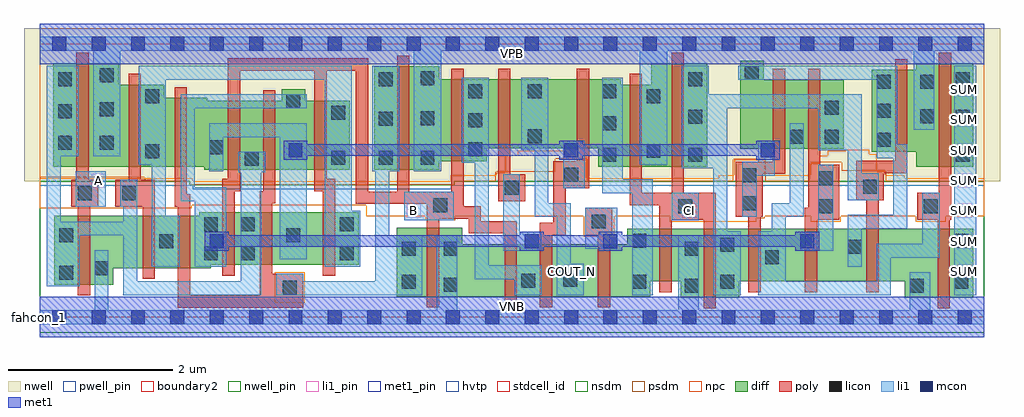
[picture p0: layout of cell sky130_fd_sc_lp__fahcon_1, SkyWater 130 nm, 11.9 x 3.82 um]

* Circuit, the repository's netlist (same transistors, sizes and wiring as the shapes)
* Copyright 2020 The SkyWater PDK Authors
*
* Licensed under the Apache License, Version 2.0 (the "License");
* you may not use this file except in compliance with the License.
* You may obtain a copy of the License at
*
*     https://www.apache.org/licenses/LICENSE-2.0
*
* Unless required by applicable law or agreed to in writing, software
* distributed under the License is distributed on an "AS IS" BASIS,
* WITHOUT WARRANTIES OR CONDITIONS OF ANY KIND, either express or implied.
* See the License for the specific language governing permissions and
* limitations under the License.
*
* SPDX-License-Identifier: Apache-2.0

.SUBCKT sky130_fd_sc_lp__fahcon_1 A B CI VGND VNB VPB VPWR COUT_N SUM
*.PININFO A:I B:I CI:I VGND:I VNB:I VPB:I VPWR:I COUT_N:O SUM:O
MMIP3 SUM net186 VPWR VPB sky130_fd_pr__pfet_01v8_hvt m=1 w=1.26U l=0.15U mult=1
+ sa=0.265 sb=0.265 sd=0.28 area=0.063 perim=1.14
MI32 Bb2 B VPWR VPB sky130_fd_pr__pfet_01v8_hvt m=1 w=1.0U l=0.15U mult=1 sa=0.265
+ sb=0.265 sd=0.28 area=0.063 perim=1.14
MI27 Ab Bb1 mid2 VPB sky130_fd_pr__pfet_01v8_hvt m=1 w=0.84U l=0.15U mult=1 sa=0.265
+ sb=0.265 sd=0.28 area=0.063 perim=1.14
MI26 Abb B mid2 VPB sky130_fd_pr__pfet_01v8_hvt m=1 w=0.84U l=0.15U mult=1 sa=0.265
+ sb=0.265 sd=0.28 area=0.063 perim=1.14
MI22 Abb Bb1 mid1 VPB sky130_fd_pr__pfet_01v8_hvt m=1 w=0.84U l=0.15U mult=1 sa=0.265
+ sb=0.265 sd=0.28 area=0.063 perim=1.14
MI23 Ab B mid1 VPB sky130_fd_pr__pfet_01v8_hvt m=1 w=0.84U l=0.15U mult=1 sa=0.265
+ sb=0.265 sd=0.28 area=0.063 perim=1.14
MI19 CIb1 CI VPWR VPB sky130_fd_pr__pfet_01v8_hvt m=1 w=1.0U l=0.15U mult=1 sa=0.265
+ sb=0.265 sd=0.28 area=0.063 perim=1.14
MI13 CIbb2 CIb2 VPWR VPB sky130_fd_pr__pfet_01v8_hvt m=1 w=1.0U l=0.15U mult=1
+ sa=0.265 sb=0.265 sd=0.28 area=0.063 perim=1.14
MI47 Abb Ab VPWR VPB sky130_fd_pr__pfet_01v8_hvt m=1 w=1.0U l=0.15U mult=1 sa=0.265
+ sb=0.265 sd=0.28 area=0.063 perim=1.14
MI12 CIb2 CI VPWR VPB sky130_fd_pr__pfet_01v8_hvt m=1 w=1.26U l=0.15U mult=1 sa=0.265
+ sb=0.265 sd=0.28 area=0.063 perim=1.14
MI16 Bb1 B VPWR VPB sky130_fd_pr__pfet_01v8_hvt m=1 w=1.26U l=0.15U mult=1 sa=0.265
+ sb=0.265 sd=0.28 area=0.063 perim=1.14
MI650 CIb2 mid2 net186 VPB sky130_fd_pr__pfet_01v8_hvt m=1 w=0.84U l=0.15U mult=1
+ sa=0.265 sb=0.265 sd=0.28 area=0.063 perim=1.14
MI45 Ab A VPWR VPB sky130_fd_pr__pfet_01v8_hvt m=1 w=1.26U l=0.15U mult=1 sa=0.265
+ sb=0.265 sd=0.28 area=0.063 perim=1.14
MI1 CIbb2 mid1 net186 VPB sky130_fd_pr__pfet_01v8_hvt m=1 w=0.84U l=0.15U mult=1
+ sa=0.265 sb=0.265 sd=0.28 area=0.063 perim=1.14
MI3 Bb2 mid2 COUT_N VPB sky130_fd_pr__pfet_01v8_hvt m=1 w=0.84U l=0.15U mult=1
+ sa=0.265 sb=0.265 sd=0.28 area=0.063 perim=1.14
MI4 CIb1 mid1 COUT_N VPB sky130_fd_pr__pfet_01v8_hvt m=1 w=0.84U l=0.15U mult=1
+ sa=0.265 sb=0.265 sd=0.28 area=0.063 perim=1.14
MMIN3 SUM net186 VGND VNB sky130_fd_pr__nfet_01v8 m=1 w=0.84U l=0.15U mult=1 sa=0.265
+ sb=0.265 sd=0.28 area=0.063 perim=1.14
MI6 CIb1 mid2 COUT_N VNB sky130_fd_pr__nfet_01v8 m=1 w=0.64U l=0.15U mult=1 sa=0.265
+ sb=0.265 sd=0.28 area=0.063 perim=1.14
MI25 Ab B mid2 VNB sky130_fd_pr__nfet_01v8 m=1 w=0.64U l=0.15U mult=1 sa=0.265
+ sb=0.265 sd=0.28 area=0.063 perim=1.14
MI24 Abb Bb1 mid2 VNB sky130_fd_pr__nfet_01v8 m=1 w=0.64U l=0.15U mult=1 sa=0.265
+ sb=0.265 sd=0.28 area=0.063 perim=1.14
MI21 Ab Bb1 mid1 VNB sky130_fd_pr__nfet_01v8 m=1 w=0.64U l=0.15U mult=1 sa=0.265
+ sb=0.265 sd=0.28 area=0.063 perim=1.14
MI20 Abb B mid1 VNB sky130_fd_pr__nfet_01v8 m=1 w=0.64U l=0.15U mult=1 sa=0.265
+ sb=0.265 sd=0.28 area=0.063 perim=1.14
MI14 CIb1 CI VGND VNB sky130_fd_pr__nfet_01v8 m=1 w=0.64U l=0.15U mult=1 sa=0.265
+ sb=0.265 sd=0.28 area=0.063 perim=1.14
MI9 CIbb2 CIb2 VGND VNB sky130_fd_pr__nfet_01v8 m=1 w=0.64U l=0.15U mult=1 sa=0.265
+ sb=0.265 sd=0.28 area=0.063 perim=1.14
MI8 CIb2 CI VGND VNB sky130_fd_pr__nfet_01v8 m=1 w=0.84U l=0.15U mult=1 sa=0.265
+ sb=0.265 sd=0.28 area=0.063 perim=1.14
MI44 Ab A VGND VNB sky130_fd_pr__nfet_01v8 m=1 w=0.84U l=0.15U mult=1 sa=0.265
+ sb=0.265 sd=0.28 area=0.063 perim=1.14
MI46 Abb Ab VGND VNB sky130_fd_pr__nfet_01v8 m=1 w=0.64U l=0.15U mult=1 sa=0.265
+ sb=0.265 sd=0.28 area=0.063 perim=1.14
MI17 Bb1 B VGND VNB sky130_fd_pr__nfet_01v8 m=1 w=0.84U l=0.15U mult=1 sa=0.265
+ sb=0.265 sd=0.28 area=0.063 perim=1.14
MI649 CIb2 mid1 net186 VNB sky130_fd_pr__nfet_01v8 m=1 w=0.64U l=0.15U mult=1 sa=0.265
+ sb=0.265 sd=0.28 area=0.063 perim=1.14
MI2 CIbb2 mid2 net186 VNB sky130_fd_pr__nfet_01v8 m=1 w=0.64U l=0.15U mult=1 sa=0.265
+ sb=0.265 sd=0.28 area=0.063 perim=1.14
MI31 Bb2 mid1 COUT_N VNB sky130_fd_pr__nfet_01v8 m=1 w=0.64U l=0.15U mult=1 sa=0.265
+ sb=0.265 sd=0.28 area=0.063 perim=1.14
MI33 Bb2 B VGND VNB sky130_fd_pr__nfet_01v8 m=1 w=0.64U l=0.15U mult=1 sa=0.265
+ sb=0.265 sd=0.28 area=0.063 perim=1.14
.ENDS sky130_fd_sc_lp__fahcon_1

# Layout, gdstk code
import gdstk
lib = gdstk.Library(unit=1e-6, precision=1e-09)
def R(c, l, rs):  # rectangles x0, y0, x1, y1
    for r in rs: c.add(gdstk.rectangle(r[:2], r[2:], *l))
def A(c, l, x, y, w, h, nx, ny, dx, dy):  # array of equal rectangles
    R(c, l, [(x+i*dx, y+j*dy, x+i*dx+w, y+j*dy+h) for i in range(nx) for j in range(ny)])
def P(c, l, *ps):  # polygons
    for p in ps: c.add(gdstk.Polygon(p, *l))
nwell_pin = (64, 16)
nwell = (64, 20)
diff = (65, 20)
poly = (66, 20)
licon = (66, 44)
li1_pin = (67, 16)
li1 = (67, 20)
mcon = (67, 44)
met1_pin = (68, 16)
met1 = (68, 20)
hvtp = (78, 44)
stdcell_id = (81, 4)
nsdm = (93, 44)
psdm = (94, 20)
npc = (95, 20)
pwell_pin = (122, 16)
boundary2 = (236, 0)

sky130_fd_sc_lp__fahcon_ = lib.new_cell('sky130_fd_sc_lp__fahcon_1')
R(sky130_fd_sc_lp__fahcon_, nwell_pin, [(0,3.085,11.52,3.33)])
P(sky130_fd_sc_lp__fahcon_, nwell, [(11.71,3.52),(-0.19,3.52),(-0.19,1.655),(1.83,1.655),(1.83,1.615),(5.055,1.615),(5.055,1.655),(11.71,1.655)])
P(sky130_fd_sc_lp__fahcon_, diff, [(3.78,2.635),(3.24,2.635),(3.24,2.775),(2.95,2.775),(2.95,2.635),(2.045,2.635),(2.045,2.675),(1.52,2.675),(1.52,2.835),(0.965,2.835),(0.965,3.095),(0.165,3.095),(0.165,1.835),(2.01,1.835),(2.01,1.795),(3.78,1.795)],
  [(3.89,1.275),(1.945,1.275),(1.945,1.235),(0.18,1.235),(0.18,0.395),(0.9,0.395),(0.9,0.595),(2.085,0.595),(2.085,0.635),(3.89,0.635)],
  [(8.14,3.095),(7.455,3.095),(7.455,2.835),(7.085,2.835),(7.085,2.9),(4.875,2.9),(4.875,3.055),(4.08,3.055),(4.08,1.795),(4.875,1.795),(4.875,1.9),(5.455,1.9),(5.455,2.06),(6.81,2.06),(6.81,1.835),(8.14,1.835)],
  [(9.805,2.895),(8.83,2.895),(8.83,3.125),(8.54,3.125),(8.54,2.055),(9.805,2.055)],
  [(11.385,3.095),(10.69,3.095),(10.69,3.015),(10.145,3.015),(10.145,2.015),(10.69,2.015),(10.69,1.835),(11.385,1.835)],
  [(11.385,1.075),(7.165,1.075),(7.165,0.89),(5.155,0.89),(5.155,1.09),(4.355,1.09),(4.355,0.25),(7.445,0.25),(7.445,0.435),(7.815,0.435),(7.815,0.235),(8.53,0.235),(8.53,0.435),(10.55,0.435),(10.55,0.235),(11.385,0.235)])
P(sky130_fd_sc_lp__fahcon_, poly, [(0.715,1.675),(0.6,1.675),(0.6,3.225),(0.45,3.225),(0.45,1.675),(0.385,1.675),(0.385,1.345),(0.465,1.345),(0.465,0.265),(0.615,0.265),(0.615,1.345),(0.715,1.345)],
  [(1.405,1.675),(1.235,1.675),(1.235,2.965),(1.085,2.965),(1.085,1.675),(0.925,1.675),(0.925,1.345),(1.255,1.345),(1.255,0.465),(1.405,0.465)],
  [(3.215,0.525),(2.835,0.525),(2.835,1.385),(2.875,1.385),(2.875,2.765),(2.725,2.765),(2.725,1.535),(2.685,1.535),(2.685,0.265),(1.835,0.265),(1.835,1.495),(1.795,1.495),(1.795,2.805),(1.645,2.805),(1.645,1.345),(1.685,1.345),(1.685,0.115),(3.215,0.115)],
  [(5.82,1.17),(5.38,1.17),(5.38,1.35),(5.17,1.35),(5.17,3.03),(5.02,3.03),(5.02,1.53),(4.51,1.53),(4.51,3.185),(4.36,3.185),(4.36,1.53),(4.005,1.53),(4.005,3.155),(2.295,3.155),(2.295,1.685),(2.23,1.685),(2.23,0.505),(2.38,0.505),(2.38,1.535),(2.445,1.535),(2.445,3.005),(3.35,3.005),(3.35,1.535),(3.455,1.535),(3.455,0.505),(3.605,0.505),(3.605,1.685),(3.5,1.685),(3.5,3.005),(3.855,3.005),(3.855,1.38),(4.72,1.38),(4.72,0.12),(4.87,0.12),(4.87,1.2),(5.23,1.2),(5.23,1.02),(5.67,1.02),(5.67,0.12),(5.82,0.12)],
  [(5.92,1.74),(5.74,1.74),(5.74,3.03),(5.59,3.03),(5.59,1.41),(5.92,1.41)],
  [(6.7,3.03),(6.55,3.03),(6.55,1.9),(6.265,1.9),(6.265,1.15),(6.1,1.15),(6.1,0.12),(6.25,0.12),(6.25,1),(6.415,1),(6.415,1.57),(6.7,1.57)],
  [(6.985,1.33),(6.655,1.33),(6.655,1),(6.805,1),(6.805,0.12),(6.955,0.12),(6.955,1),(6.985,1)],
  [(8.245,1.515),(7.855,1.515),(7.855,3.225),(7.705,3.225),(7.705,1.515),(7.345,1.515),(7.345,2.965),(7.195,2.965),(7.195,1.365),(7.555,1.365),(7.555,0.305),(7.705,0.305),(7.705,1.185),(8.095,1.185),(8.095,0.105),(8.245,0.105)],
  [(9.09,3.025),(8.94,3.025),(8.94,1.895),(8.49,1.895),(8.49,1.225),(8.64,1.225),(8.64,0.305),(8.79,0.305),(8.79,1.225),(8.82,1.225),(8.82,1.745),(9.09,1.745)],
  [(9.75,1.855),(9.52,1.855),(9.52,3.025),(9.37,3.025),(9.37,1.335),(9.33,1.335),(9.33,0.305),(9.48,0.305),(9.48,1.185),(9.75,1.185)],
  [(10.58,3.145),(10.43,3.145),(10.43,1.905),(9.96,1.905),(9.96,1.425),(10.08,1.425),(10.08,0.305),(10.23,0.305),(10.23,1.425),(10.29,1.425),(10.29,1.755),(10.58,1.755)],
  [(11.115,3.225),(10.965,3.225),(10.965,1.515),(10.7,1.515),(10.7,1.185),(10.95,1.185),(10.95,0.105),(11.1,0.105),(11.1,1.185),(11.115,1.185)])
A(sky130_fd_sc_lp__fahcon_, licon, 4.135, 1.855, 0.17, 0.17, 1, 3, 0, 0.48)
A(sky130_fd_sc_lp__fahcon_, licon, 4.645, 1.855, 0.17, 0.17, 1, 3, 0, 0.485)
A(sky130_fd_sc_lp__fahcon_, licon, 7.91, 1.895, 0.17, 0.17, 1, 3, 0, 0.46)
A(sky130_fd_sc_lp__fahcon_, licon, 11.17, 1.895, 0.17, 0.17, 1, 3, 0, 0.46)
A(sky130_fd_sc_lp__fahcon_, licon, 5.225, 1.96, 0.17, 0.17, 1, 3, 0, 0.355)
A(sky130_fd_sc_lp__fahcon_, licon, 10.205, 2.075, 0.17, 0.17, 1, 3, 0, 0.355)
R(sky130_fd_sc_lp__fahcon_, licon, [(2.965,0.275,3.135,0.445), (7.865,0.295,8.035,0.465), (10.61,0.295,10.78,0.465), (4.925,0.31,5.095,0.48), (4.415,0.345,4.585,0.515), (7.225,0.345,7.395,0.515), (8.3,0.345,8.47,0.515), (11.155,0.345,11.325,0.515), (5.875,0.36,6.045,0.53), (6.385,0.37,6.555,0.54), (0.24,0.455,0.41,0.625), (0.67,0.51,0.84,0.68), (8.845,0.645,9.015,0.815), (2.005,0.695,2.175,0.865), (2.455,0.695,2.625,0.865), (3.66,0.695,3.83,0.865), (4.415,0.75,4.585,0.92), (4.925,0.75,5.095,0.92), (7.865,0.75,8.035,0.92), (9.855,0.77,10.025,0.94), (8.3,0.795,8.47,0.965), (1.46,0.84,1.63,1.01), (7.225,0.845,7.395,1.015), (11.155,0.845,11.325,1.015), (0.24,0.915,0.41,1.085), (3.01,0.915,3.18,1.085), (2.005,1.045,2.175,1.215), (2.455,1.045,2.625,1.215), (3.66,1.045,3.83,1.215), (6.735,1.08,6.905,1.25), (7.785,1.265,7.955,1.435), (9.5,1.265,9.67,1.435), (10.78,1.265,10.95,1.435), (4.8,1.28,4.97,1.45), (8.57,1.305,8.74,1.475), (0.465,1.425,0.635,1.595), (1.005,1.425,1.175,1.595), (5.67,1.49,5.84,1.66), (10.04,1.505,10.21,1.675), (9.5,1.605,9.67,1.775), (8.57,1.645,8.74,1.815), (6.4,1.65,6.57,1.82), (2.5,1.845,2.67,2.015), (3.555,1.855,3.725,2.025), (6.86,1.895,7.03,2.065), (1.29,1.935,1.46,2.105), (7.4,1.94,7.57,2.11), (2.07,1.985,2.24,2.155), (0.225,2.04,0.395,2.21), (0.735,2.04,0.905,2.21), (9.145,2.115,9.315,2.285), (9.575,2.115,9.745,2.285), (5.955,2.12,6.125,2.29), (6.86,2.28,7.03,2.45), (10.74,2.365,10.91,2.535), (3.555,2.405,3.725,2.575), (0.225,2.425,0.395,2.595), (0.735,2.45,0.905,2.62), (9.575,2.465,9.745,2.635), (3.01,2.545,3.18,2.715), (1.29,2.605,1.46,2.775), (7.4,2.605,7.57,2.775), (5.955,2.67,6.125,2.84), (6.86,2.67,7.03,2.84), (10.74,2.785,10.91,2.955), (0.225,2.815,0.395,2.985), (0.735,2.865,0.905,3.035), (8.6,2.895,8.77,3.065)])
A(sky130_fd_sc_lp__fahcon_, li1_pin, 4.475, 1.21, 0.17, 0.17, 3, 1, 3.36, 0)
A(sky130_fd_sc_lp__fahcon_, li1_pin, 11.195, 1.58, 0.17, 0.17, 1, 4, 0, 0.37)
R(sky130_fd_sc_lp__fahcon_, li1_pin, [(6.395,0.47,6.565,0.64), (11.195,0.47,11.365,0.64), (11.195,0.84,11.365,1.01), (0.635,1.58,0.805,1.75)])
R(sky130_fd_sc_lp__fahcon_, li1, [(11.155,0.265,11.42,3.065), (6.655,0.83,7.045,1.33), (4.445,1.18,5.05,1.53), (7.705,1.18,8.035,1.515), (0.44,1.345,0.805,1.78), (6.385,1.57,6.65,2.15)])
P(sky130_fd_sc_lp__fahcon_, li1, [(7.32,1.86),(7.32,3.245),(4.895,3.245),(4.895,1.775),(4.565,1.775),(4.565,3.245),(0.985,3.245),(0.985,1.96),(0.655,1.96),(0.655,3.245),(0,3.245),(0,3.415),(11.52,3.415),(11.52,3.245),(10.91,3.245),(10.91,2.285),(10.66,2.285),(10.66,3.245),(7.65,3.245),(7.65,1.86)],
  [(10.61,0.085),(10.61,0.545),(10.86,0.545),(10.86,0.085),(11.52,0.085),(11.52,-0.085),(0,-0.085),(0,0.085),(0.67,0.085),(0.67,0.815),(0.84,0.815),(0.84,0.085),(4.845,0.085),(4.845,1),(5.095,1),(5.095,0.085),(7.785,0.085),(7.785,1),(8.035,1),(8.035,0.085)],
  [(6.475,0.65),(6.635,0.65),(6.635,0.265),(6.305,0.265),(6.305,1.22),(6.035,1.22),(6.035,2.04),(5.875,2.04),(5.875,2.92),(6.205,2.92),(6.205,1.39),(6.475,1.39)],
  [(8.925,1.39),(9.145,1.39),(9.145,2.365),(9.315,2.365),(9.315,1.22),(9.095,1.22),(9.095,0.435),(10.205,0.435),(10.205,0.895),(10.76,0.895),(10.76,1.515),(10.975,1.515),(10.975,0.725),(10.375,0.725),(10.375,0.265),(8.765,0.265),(8.765,1.045),(8.925,1.045)],
  [(3.215,0.435),(4.095,0.435),(4.095,1.775),(4.055,1.775),(4.055,3.065),(4.385,3.065),(4.385,1.775),(4.265,1.775),(4.265,1),(4.665,1),(4.665,0.265),(2.885,0.265),(2.885,0.525),(3.215,0.525)],
  [(7.11,1.68),(7.475,1.68),(7.475,0.265),(7.225,0.265),(7.225,1.51),(6.86,1.51),(6.86,2.92),(7.11,2.92)],
  [(5.475,0.63),(6.125,0.63),(6.125,0.265),(5.795,0.265),(5.795,0.46),(5.305,0.46),(5.305,1.88),(5.145,1.88),(5.145,2.92),(5.475,2.92)],
  [(9.275,0.81),(9.275,1.04),(9.495,1.04),(9.495,1.855),(9.675,1.855),(9.675,0.81)],
  [(9.855,1.425),(9.855,2.035),(9.495,2.035),(9.495,2.545),(8.385,2.545),(8.385,1.045),(8.55,1.045),(8.55,0.265),(8.215,0.265),(8.215,1.815),(7.83,1.815),(7.83,3.065),(8.16,3.065),(8.16,2.715),(10.025,2.715),(10.025,1.755),(10.23,1.755),(10.23,1.425)],
  [(3.475,2.895),(1.54,2.895),(1.54,1.235),(1.71,1.235),(1.71,0.615),(1.37,0.615),(1.37,1.855),(1.21,1.855),(1.21,3.065),(3.805,3.065),(3.805,1.295),(3.91,1.295),(3.91,0.615),(3.475,0.615)],
  [(1.02,0.995),(0.49,0.995),(0.49,0.375),(0.09,0.375),(0.09,3.065),(0.475,3.065),(0.475,1.96),(0.26,1.96),(0.26,1.165),(1.02,1.165),(1.02,1.345),(0.985,1.345),(0.985,1.675),(1.19,1.675),(1.19,0.435),(2.455,0.435),(2.455,1.765),(2.42,1.765),(2.42,2.015),(2.75,2.015),(2.75,1.765),(2.705,1.765),(2.705,0.265),(1.02,0.265)],
  [(5.655,1.74),(5.855,1.74),(5.855,1.04),(6.115,1.04),(6.115,0.81),(5.655,0.81)],
  [(2.93,2.195),(2.24,2.195),(2.24,1.775),(2.07,1.775),(2.07,2.365),(3.26,2.365),(3.26,0.705),(2.93,0.705)],
  [(3.26,2.715),(3.26,2.545),(1.89,2.545),(1.89,1.585),(2.275,1.585),(2.275,0.615),(1.89,0.615),(1.89,1.415),(1.72,1.415),(1.72,2.715)],
  [(10.025,1.075),(10.025,0.615),(9.855,0.615),(9.855,1.245),(10.41,1.245),(10.41,1.935),(10.205,1.935),(10.205,2.895),(8.52,2.895),(8.52,3.065),(10.455,3.065),(10.455,2.105),(10.58,2.105),(10.58,1.075)],
  [(8.565,1.225),(8.565,1.895),(8.765,1.895),(8.765,2.15),(8.965,2.15),(8.965,1.725),(8.745,1.725),(8.745,1.225)])
A(sky130_fd_sc_lp__fahcon_, mcon, 0.155, -0.085, 0.17, 0.17, 24, 2, 0.48, 3.33)
R(sky130_fd_sc_lp__fahcon_, mcon, [(2.075,0.84,2.245,1.01), (5.915,0.84,6.085,1.01), (6.875,0.84,7.045,1.01), (9.275,0.84,9.445,1.01), (3.035,1.95,3.205,2.12), (6.395,1.95,6.565,2.12), (8.795,1.95,8.965,2.12)])
R(sky130_fd_sc_lp__fahcon_, met1_pin, [(0,0,11.52,0.245), (0,3.085,11.52,3.33)])
R(sky130_fd_sc_lp__fahcon_, met1, [(0,-0.245,11.52,0.245), (0,3.085,11.52,3.575)])
P(sky130_fd_sc_lp__fahcon_, met1, [(3.265,2.105),(6.335,2.105),(6.335,2.15),(6.625,2.15),(6.625,2.105),(8.735,2.105),(8.735,2.15),(9.025,2.15),(9.025,1.92),(8.735,1.92),(8.735,1.965),(6.625,1.965),(6.625,1.92),(6.335,1.92),(6.335,1.965),(3.265,1.965),(3.265,1.92),(2.975,1.92),(2.975,2.15),(3.265,2.15)],
  [(5.855,0.81),(5.855,0.855),(2.305,0.855),(2.305,0.81),(2.015,0.81),(2.015,1.04),(2.305,1.04),(2.305,0.995),(5.855,0.995),(5.855,1.04),(6.145,1.04),(6.145,0.995),(6.815,0.995),(6.815,1.04),(7.105,1.04),(7.105,0.995),(9.215,0.995),(9.215,1.04),(9.505,1.04),(9.505,0.81),(9.215,0.81),(9.215,0.855),(7.105,0.855),(7.105,0.81),(6.815,0.81),(6.815,0.855),(6.145,0.855),(6.145,0.81)])
P(sky130_fd_sc_lp__fahcon_, hvtp, [(11.52,3.33),(0,3.33),(0,1.6),(1.87,1.6),(1.87,1.56),(5.02,1.56),(5.02,1.6),(11.52,1.6)])
R(sky130_fd_sc_lp__fahcon_, stdcell_id, [(0,0,11.52,3.33)])
P(sky130_fd_sc_lp__fahcon_, nsdm, [(11.52,1.655),(5.055,1.655),(5.055,1.615),(1.83,1.615),(1.83,1.655),(0,1.655),(0,-0.19),(11.52,-0.19)])
P(sky130_fd_sc_lp__fahcon_, psdm, [(11.52,3.52),(0,3.52),(0,1.705),(1.285,1.705),(1.285,1.655),(1.83,1.655),(1.83,1.615),(5.055,1.615),(5.055,1.655),(5.56,1.655),(5.56,1.77),(6.29,1.77),(6.29,1.93),(6.68,1.93),(6.68,1.655),(8.46,1.655),(8.46,1.925),(8.85,1.925),(8.85,1.655),(9.39,1.655),(9.39,1.885),(9.78,1.885),(9.78,1.785),(10.32,1.785),(10.32,1.655),(11.52,1.655)])
R(sky130_fd_sc_lp__fahcon_, npc, [(2.865,0.175,3.235,0.545)])
P(sky130_fd_sc_lp__fahcon_, npc, [(11.52,1.695),(10.55,1.695),(10.55,1.73),(10.31,1.73),(10.31,1.775),(10.205,1.775),(10.205,1.985),(10.115,1.985),(10.115,2.04),(9.835,2.04),(9.835,2.025),(9.61,2.025),(9.61,1.965),(9.505,1.965),(9.505,1.875),(9.4,1.875),(9.4,1.73),(8.84,1.73),(8.84,1.915),(8.47,1.915),(8.47,1.73),(8.28,1.73),(8.28,1.695),(6.67,1.695),(6.67,1.92),(6.565,1.92),(6.565,1.97),(6.46,1.97),(6.46,2.025),(5.83,2.025),(5.83,1.97),(5.675,1.97),(5.675,1.76),(5.57,1.76),(5.57,1.73),(5.015,1.73),(5.015,1.655),(1.87,1.655),(1.87,1.695),(0,1.695),(0,1.325),(1.855,1.325),(1.855,1.365),(3.98,1.365),(3.98,1.23),(4.7,1.23),(4.7,1.18),(5.07,1.18),(5.07,1.23),(6.635,1.23),(6.635,0.98),(7.005,0.98),(7.005,1.23),(7.685,1.23),(7.685,1.165),(8.735,1.165),(8.735,1.205),(8.84,1.205),(8.84,1.23),(9.4,1.23),(9.4,1.165),(9.77,1.165),(9.77,1.23),(10.68,1.23),(10.68,1.165),(11.05,1.165),(11.05,1.23),(11.52,1.23)])
R(sky130_fd_sc_lp__fahcon_, pwell_pin, [(0,0,11.52,0.245)])
R(sky130_fd_sc_lp__fahcon_, boundary2, [(0,0,11.52,3.33)])
sky130_fd_sc_lp__fahcon_.add(gdstk.Label('VNB', (5.76,0.123), layer=64, texttype=59))
sky130_fd_sc_lp__fahcon_.add(gdstk.Label('VPB', (5.76,3.208), layer=64, texttype=5))
sky130_fd_sc_lp__fahcon_.add(gdstk.Label('fahcon_1', (0,0), layer=83, texttype=44))
sky130_fd_sc_lp__fahcon_.add(gdstk.Label('VPWR', (5.76,3.208), layer=68, texttype=5))
sky130_fd_sc_lp__fahcon_.add(gdstk.Label('VGND', (5.76,0.123), layer=68, texttype=5))
sky130_fd_sc_lp__fahcon_.add(gdstk.Label('SUM', (11.28,0.555), layer=67, texttype=5))
sky130_fd_sc_lp__fahcon_.add(gdstk.Label('SUM', (11.28,0.925), layer=67, texttype=5))
sky130_fd_sc_lp__fahcon_.add(gdstk.Label('SUM', (11.28,1.295), layer=67, texttype=5))
sky130_fd_sc_lp__fahcon_.add(gdstk.Label('SUM', (11.28,1.665), layer=67, texttype=5))
sky130_fd_sc_lp__fahcon_.add(gdstk.Label('SUM', (11.28,2.035), layer=67, texttype=5))
sky130_fd_sc_lp__fahcon_.add(gdstk.Label('SUM', (11.28,2.405), layer=67, texttype=5))
sky130_fd_sc_lp__fahcon_.add(gdstk.Label('SUM', (11.28,2.775), layer=67, texttype=5))
sky130_fd_sc_lp__fahcon_.add(gdstk.Label('COUT_N', (6.48,0.555), layer=67, texttype=5))
sky130_fd_sc_lp__fahcon_.add(gdstk.Label('A', (0.72,1.665), layer=67, texttype=5))
sky130_fd_sc_lp__fahcon_.add(gdstk.Label('B', (4.56,1.295), layer=67, texttype=5))
sky130_fd_sc_lp__fahcon_.add(gdstk.Label('CI', (7.92,1.295), layer=67, texttype=5))

lib.write_gds('sky130_fd_sc_lp__fahcon_1.gds')
